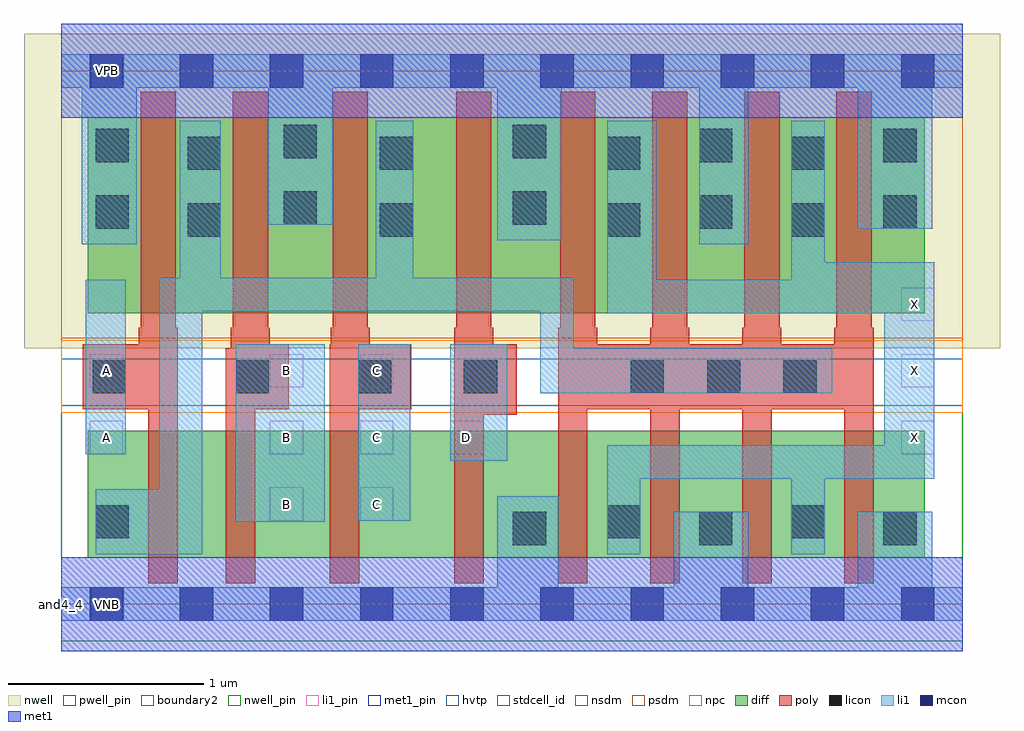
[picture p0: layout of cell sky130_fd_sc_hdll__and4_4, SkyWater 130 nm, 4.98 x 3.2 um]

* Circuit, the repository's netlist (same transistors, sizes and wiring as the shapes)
* Copyright 2020 The SkyWater PDK Authors
*
* Licensed under the Apache License, Version 2.0 (the "License");
* you may not use this file except in compliance with the License.
* You may obtain a copy of the License at
*
*     https://www.apache.org/licenses/LICENSE-2.0
*
* Unless required by applicable law or agreed to in writing, software
* distributed under the License is distributed on an "AS IS" BASIS,
* WITHOUT WARRANTIES OR CONDITIONS OF ANY KIND, either express or implied.
* See the License for the specific language governing permissions and
* limitations under the License.
*
* SPDX-License-Identifier: Apache-2.0

.SUBCKT sky130_fd_sc_hdll__and4_4 A B C D VGND VNB VPB VPWR X
*.PININFO A:I B:I C:I D:I VGND:I VNB:I VPB:I VPWR:I X:O
MMP0 y A VPWR VPB sky130_fd_pr__pfet_01v8_hvt m=1 w=1.0U l=0.18U mult=1 sa=0.265
+ sb=0.265 sd=0.28 area=0.063 perim=1.14
MMP1 y B VPWR VPB sky130_fd_pr__pfet_01v8_hvt m=1 w=1.0U l=0.18U mult=1 sa=0.265
+ sb=0.265 sd=0.28 area=0.063 perim=1.14
MMP2 y C VPWR VPB sky130_fd_pr__pfet_01v8_hvt m=1 w=1.0U l=0.18U mult=1 sa=0.265
+ sb=0.265 sd=0.28 area=0.063 perim=1.14
MMP3 y D VPWR VPB sky130_fd_pr__pfet_01v8_hvt m=1 w=1.0U l=0.18U mult=1 sa=0.265
+ sb=0.265 sd=0.28 area=0.063 perim=1.14
MMIP0 X y VPWR VPB sky130_fd_pr__pfet_01v8_hvt m=4 w=1.0U l=0.18U mult=1 sa=0.265
+ sb=0.265 sd=0.28 area=0.063 perim=1.14
MMN0 y A sndA VNB sky130_fd_pr__nfet_01v8 m=1 w=0.65U l=0.15U mult=1 sa=0.265 sb=0.265
+ sd=0.28 area=0.063 perim=1.14
MMN1 sndA B sndB VNB sky130_fd_pr__nfet_01v8 m=1 w=0.65U l=0.15U mult=1 sa=0.265
+ sb=0.265 sd=0.28 area=0.063 perim=1.14
MMN2 sndB C sndC VNB sky130_fd_pr__nfet_01v8 m=1 w=0.65U l=0.15U mult=1 sa=0.265
+ sb=0.265 sd=0.28 area=0.063 perim=1.14
MMN3 sndC D VGND VNB sky130_fd_pr__nfet_01v8 m=1 w=0.65U l=0.15U mult=1 sa=0.265
+ sb=0.265 sd=0.28 area=0.063 perim=1.14
MMIN0 X y VGND VNB sky130_fd_pr__nfet_01v8 m=4 w=0.65U l=0.15U mult=1 sa=0.265
+ sb=0.265 sd=0.28 area=0.063 perim=1.14
.ENDS sky130_fd_sc_hdll__and4_4

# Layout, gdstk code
import gdstk
lib = gdstk.Library(unit=1e-6, precision=1e-09)
def R(c, l, rs):  # rectangles x0, y0, x1, y1
    for r in rs: c.add(gdstk.rectangle(r[:2], r[2:], *l))
def A(c, l, x, y, w, h, nx, ny, dx, dy):  # array of equal rectangles
    R(c, l, [(x+i*dx, y+j*dy, x+i*dx+w, y+j*dy+h) for i in range(nx) for j in range(ny)])
def P(c, l, *ps):  # polygons
    for p in ps: c.add(gdstk.Polygon(p, *l))
nwell_pin = (64, 16)
nwell = (64, 20)
diff = (65, 20)
poly = (66, 20)
licon = (66, 44)
li1_pin = (67, 16)
li1 = (67, 20)
mcon = (67, 44)
met1_pin = (68, 16)
met1 = (68, 20)
hvtp = (78, 44)
stdcell_id = (81, 4)
nsdm = (93, 44)
psdm = (94, 20)
npc = (95, 20)
pwell_pin = (122, 16)
boundary2 = (236, 0)

sky130_fd_sc_hdll__and4_ = lib.new_cell('sky130_fd_sc_hdll__and4_4')
R(sky130_fd_sc_hdll__and4_, nwell_pin, [(0.15,2.635,0.32,2.805)])
R(sky130_fd_sc_hdll__and4_, nwell, [(-0.19,1.305,4.79,2.91)])
R(sky130_fd_sc_hdll__and4_, diff, [(0.135,0.235,4.405,0.885), (0.135,1.485,4.405,2.485)])
P(sky130_fd_sc_hdll__and4_, poly, [(0.595,1.41),(0.585,1.41),(0.585,2.615),(0.405,2.615),(0.405,1.41),(0.395,1.41),(0.395,1.325),(0.11,1.325),(0.11,0.995),(0.445,0.995),(0.445,0.105),(0.595,0.105)],
  [(1.16,1.325),(1.065,1.325),(1.065,1.41),(1.055,1.41),(1.055,2.615),(0.875,2.615),(0.875,1.41),(0.865,1.41),(0.865,1.305),(0.84,1.305),(0.84,0.105),(0.99,0.105),(0.99,0.995),(1.16,0.995)],
  [(1.785,1.325),(1.575,1.325),(1.575,1.41),(1.565,1.41),(1.565,2.615),(1.385,2.615),(1.385,1.41),(1.375,1.41),(1.375,1.325),(1.37,1.325),(1.37,0.105),(1.52,0.105),(1.52,0.995),(1.785,0.995)],
  [(2.325,1.325),(2.205,1.325),(2.205,1.41),(2.195,1.41),(2.195,2.615),(2.015,2.615),(2.015,1.41),(2.005,1.41),(2.005,0.105),(2.155,0.105),(2.155,0.965),(2.325,0.965)],
  [(4.145,1.41),(4.135,1.41),(4.135,2.615),(3.955,2.615),(3.955,1.41),(3.945,1.41),(3.945,1.325),(3.675,1.325),(3.675,1.41),(3.665,1.41),(3.665,2.615),(3.485,2.615),(3.485,1.41),(3.475,1.41),(3.475,1.325),(3.205,1.325),(3.205,1.41),(3.195,1.41),(3.195,2.615),(3.015,2.615),(3.015,1.41),(3.005,1.41),(3.005,1.325),(2.735,1.325),(2.735,1.41),(2.725,1.41),(2.725,2.615),(2.545,2.615),(2.545,1.41),(2.535,1.41),(2.535,0.105),(2.685,0.105),(2.685,0.995),(3.005,0.995),(3.005,0.105),(3.155,0.105),(3.155,0.995),(3.475,0.995),(3.475,0.105),(3.625,0.105),(3.625,0.995),(3.995,0.995),(3.995,0.105),(4.145,0.105)])
A(sky130_fd_sc_hdll__and4_, licon, 2.905, 1.075, 0.17, 0.17, 3, 1, 0.39, 0)
R(sky130_fd_sc_hdll__and4_, licon, [(2.305,0.3,2.475,0.47), (3.255,0.3,3.425,0.47), (4.195,0.3,4.365,0.47), (0.175,0.335,0.345,0.505), (2.785,0.335,2.955,0.505), (3.725,0.335,3.895,0.505), (0.16,1.075,0.33,1.245), (0.89,1.075,1.06,1.245), (1.515,1.075,1.685,1.245), (2.055,1.075,2.225,1.245), (0.645,1.875,0.815,2.045), (1.625,1.875,1.795,2.045), (2.785,1.875,2.955,2.045), (3.725,1.875,3.895,2.045), (0.175,1.915,0.345,2.085), (3.255,1.915,3.425,2.085), (4.195,1.915,4.365,2.085), (1.135,1.935,1.305,2.105), (2.305,1.935,2.475,2.105), (0.645,2.215,0.815,2.385), (1.625,2.215,1.795,2.385), (2.785,2.215,2.955,2.385), (3.725,2.215,3.895,2.385), (0.175,2.255,0.345,2.425), (3.255,2.255,3.425,2.425), (4.195,2.255,4.365,2.425), (1.135,2.275,1.305,2.445), (2.305,2.275,2.475,2.445)])
A(sky130_fd_sc_hdll__and4_, li1_pin, 1.065, 0.765, 0.17, 0.17, 3, 1, 0.46, 0)
A(sky130_fd_sc_hdll__and4_, li1_pin, 4.285, 0.765, 0.17, 0.17, 1, 3, 0, 0.34)
R(sky130_fd_sc_hdll__and4_, li1_pin, [(1.065,0.425,1.235,0.595), (1.525,0.425,1.695,0.595), (0.145,0.765,0.315,0.935), (0.145,1.105,0.315,1.275), (1.065,1.105,1.235,1.275), (1.525,1.105,1.695,1.275)])
R(sky130_fd_sc_hdll__and4_, li1, [(0.89,0.42,1.345,1.325), (1.515,0.425,1.78,1.325), (1.985,0.73,2.275,1.325), (0.125,0.765,0.33,1.655)])
P(sky130_fd_sc_hdll__and4_, li1, [(3.935,1.305),(2.615,1.305),(2.615,1.665),(1.795,1.665),(1.795,2.465),(1.605,2.465),(1.605,1.665),(0.815,1.665),(0.815,2.465),(0.605,2.465),(0.605,1.665),(0.5,1.665),(0.5,0.585),(0.175,0.585),(0.175,0.255),(0.72,0.255),(0.72,1.495),(2.445,1.495),(2.445,1.075),(3.935,1.075)],
  [(4.6,2.805),(0,2.805),(0,2.635),(0.105,2.635),(0.105,1.835),(0.385,1.835),(0.385,2.635),(1.055,2.635),(1.055,1.935),(1.385,1.935),(1.385,2.635),(2.225,2.635),(2.225,1.855),(2.555,1.855),(2.555,2.635),(3.255,2.635),(3.255,1.835),(3.505,1.835),(3.505,2.635),(4.065,2.635),(4.065,1.915),(4.445,1.915),(4.445,2.635),(4.6,2.635)],
  [(4.6,0.085),(4.445,0.085),(4.445,0.47),(4.065,0.47),(4.065,0.085),(3.505,0.085),(3.505,0.47),(3.125,0.47),(3.125,0.085),(2.535,0.085),(2.535,0.55),(2.225,0.55),(2.225,0.085),(0,0.085),(0,-0.085),(4.6,-0.085)],
  [(4.455,1.745),(3.895,1.745),(3.895,2.465),(3.725,2.465),(3.725,1.655),(3.035,1.655),(3.035,2.465),(2.785,2.465),(2.785,1.485),(4.2,1.485),(4.2,0.81),(2.785,0.81),(2.785,0.255),(2.955,0.255),(2.955,0.64),(3.725,0.64),(3.725,0.255),(3.895,0.255),(3.895,0.64),(4.455,0.64)])
A(sky130_fd_sc_hdll__and4_, mcon, 0.145, -0.085, 0.17, 0.17, 10, 2, 0.46, 2.72)
R(sky130_fd_sc_hdll__and4_, met1_pin, [(0.15,-0.085,0.32,0.085), (0.15,2.635,0.32,2.805)])
R(sky130_fd_sc_hdll__and4_, met1, [(0,-0.24,4.6,0.24), (0,2.48,4.6,2.96)])
R(sky130_fd_sc_hdll__and4_, hvtp, [(0,1.25,4.6,2.72)])
R(sky130_fd_sc_hdll__and4_, stdcell_id, [(0,0,4.6,2.72)])
R(sky130_fd_sc_hdll__and4_, nsdm, [(0,-0.19,4.6,1.015)])
R(sky130_fd_sc_hdll__and4_, psdm, [(0,1.355,4.6,2.91)])
R(sky130_fd_sc_hdll__and4_, npc, [(0,0.975,4.6,1.345)])
R(sky130_fd_sc_hdll__and4_, pwell_pin, [(0.15,-0.085,0.32,0.085)])
R(sky130_fd_sc_hdll__and4_, boundary2, [(0,0,4.6,2.72)])
sky130_fd_sc_hdll__and4_.add(gdstk.Label('X', (4.355,0.85), layer=67, texttype=5))
sky130_fd_sc_hdll__and4_.add(gdstk.Label('X', (4.355,1.19), layer=67, texttype=5))
sky130_fd_sc_hdll__and4_.add(gdstk.Label('C', (1.61,0.51), layer=67, texttype=5))
sky130_fd_sc_hdll__and4_.add(gdstk.Label('A', (0.23,1.19), layer=67, texttype=5))
sky130_fd_sc_hdll__and4_.add(gdstk.Label('B', (1.15,0.51), layer=67, texttype=5))
sky130_fd_sc_hdll__and4_.add(gdstk.Label('D', (2.07,0.85), layer=67, texttype=5))
sky130_fd_sc_hdll__and4_.add(gdstk.Label('X', (4.355,1.53), layer=67, texttype=5))
sky130_fd_sc_hdll__and4_.add(gdstk.Label('C', (1.61,1.19), layer=67, texttype=5))
sky130_fd_sc_hdll__and4_.add(gdstk.Label('C', (1.61,0.85), layer=67, texttype=5))
sky130_fd_sc_hdll__and4_.add(gdstk.Label('B', (1.15,1.19), layer=67, texttype=5))
sky130_fd_sc_hdll__and4_.add(gdstk.Label('B', (1.15,0.85), layer=67, texttype=5))
sky130_fd_sc_hdll__and4_.add(gdstk.Label('A', (0.23,0.85), layer=67, texttype=5))
sky130_fd_sc_hdll__and4_.add(gdstk.Label('VNB', (0.235,0), layer=64, texttype=59))
sky130_fd_sc_hdll__and4_.add(gdstk.Label('VPB', (0.235,2.72), layer=64, texttype=5))
sky130_fd_sc_hdll__and4_.add(gdstk.Label('VGND', (0.23,0), layer=68, texttype=5))
sky130_fd_sc_hdll__and4_.add(gdstk.Label('VPWR', (0.23,2.72), layer=68, texttype=5))
sky130_fd_sc_hdll__and4_.add(gdstk.Label('and4_4', (0,0), layer=83, texttype=44))

lib.write_gds('sky130_fd_sc_hdll__and4_4.gds')
